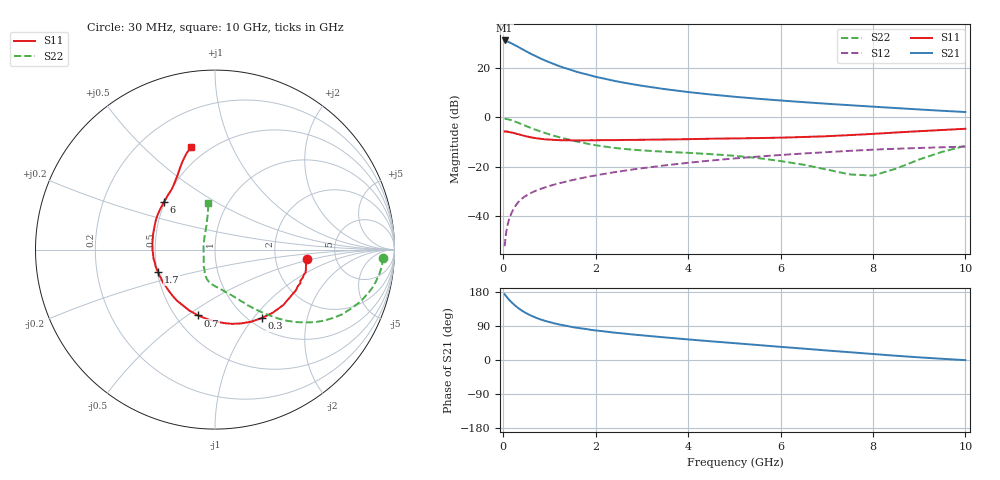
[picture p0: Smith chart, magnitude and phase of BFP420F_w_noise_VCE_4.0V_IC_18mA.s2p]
! Infineon Technologies  Discrete & RF Semiconductors
! BFP420F
! VCE =  4.0 V,  IC =  18 mA
! Common Emitter S-Parameters:  Sep 2011
# GHz  S  MA  R  50
!  f  S11  S21  S12  S22
! GHz  MAG  ANG  MAG  ANG  MAG  ANG  MAG  ANG
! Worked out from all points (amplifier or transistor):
!   54 points, 30 MHz to 10 GHz, reference 50 ohm
!   highest |S21| = 31.3 dB at 30 MHz (marker M1)
!   |S21| within 3 dB of that: start of sweep to 359.9 MHz
!   unconditionally stable (mu >= 1): 1.759 GHz to end of sweep
!   at 120 MHz: K = 0.37, MSG = 36.3 dB, |S12| = -41.9 dB
!   at 1.3 GHz: K = 0.88, MSG = 23.4 dB, |S12| = -26.4 dB
!   at 10 GHz: K = 1.24, MAG = 4.1 dB, |S12| = -11.9 dB
!   lowest NFmin = 1.47 dB at 900 MHz
!   S11 on the Smith chart (normalised r, x): 30 MHz: 3.08, -0.42; 300 MHz: 1.13, -1.10; 700 MHz: 0.64, -0.55; 1.7 GHz: 0.50, -0.14; 6 GHz: 0.49, +0.31; 10 GHz: 0.40, +0.71
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0.03  0.5177 -5.5  36.88 173.7  0.0024 62.5  0.9359 -2.8
0.05  0.5136 -9.3  36.19 170.2  0.0035 73.2  0.9348 -5.0
0.07  0.5203 -14.2  35.94 167.6  0.0049 70.5  0.9294 -7.2
0.1  0.5065 -20.0  35.1 162.8  0.0069 72.8  0.9171 -10.3
0.15  0.4993 -29.3  33.16 156.0  0.0097 72.8  0.8917 -15.2
0.2  0.4901 -39.0  31.43 150.1  0.0125 71.6  0.8616 -19.6
0.3  0.4617 -55.8  28.09 139.4  0.0177 68.5  0.7948 -27.0
0.4  0.436 -70.6  24.86 130.6  0.0221 65.7  0.7274 -32.9
0.5  0.4123 -83.2  22.1 123.4  0.0257 63.9  0.6647 -37.6
0.6  0.3931 -94.6  19.69 117.2  0.029 62.4  0.6088 -41.6
0.7  0.3789 -104.4  17.74 112.0  0.0321 61.5  0.5628 -44.8
0.9  0.3584 -120.3  14.48 103.5  0.0376 60.6  0.4839 -49.8
1.1  0.349 -133.0  12.19 96.9  0.0429 60.2  0.4237 -54.1
1.5  0.3404 -152.0  9.047 86.8  0.0532 60.1  0.3394 -61.1
1.7  0.3409 -158.6  7.956 83.3  0.0583 60.0  0.3076 -64.6
2.4  0.3458 -176.1  5.552 72.3  0.0766 58.7  0.2412 -76.5
3.5  0.3558 165.5  3.766 59.6  0.1059 55.1  0.2004 -91.8
5.5  0.3801 143.0  2.407 39.6  0.1593 44.6  0.1496 -111.6
6  0.3879 137.3  2.214 34.7  0.1722 41.7  0.1296 -116.8
7  0.4148 125.3  1.901 25.1  0.1966 35.4  0.087 -136.2
8.5  0.4941 113.3  1.552 11.2  0.2306 25.2  0.0908 130.5
10  0.5887 103.1  1.29 -0.4  0.2548 16.0  0.2649 97.9
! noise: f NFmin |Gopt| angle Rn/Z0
0.45  1.49  0.14  179  0.11
0.9  1.47  0.15  176  0.13
1.9  1.6  0.24  -172  0.18
2.4  1.67  0.25  -168  0.12
3.5  1.9  0.27  -159  0.16
